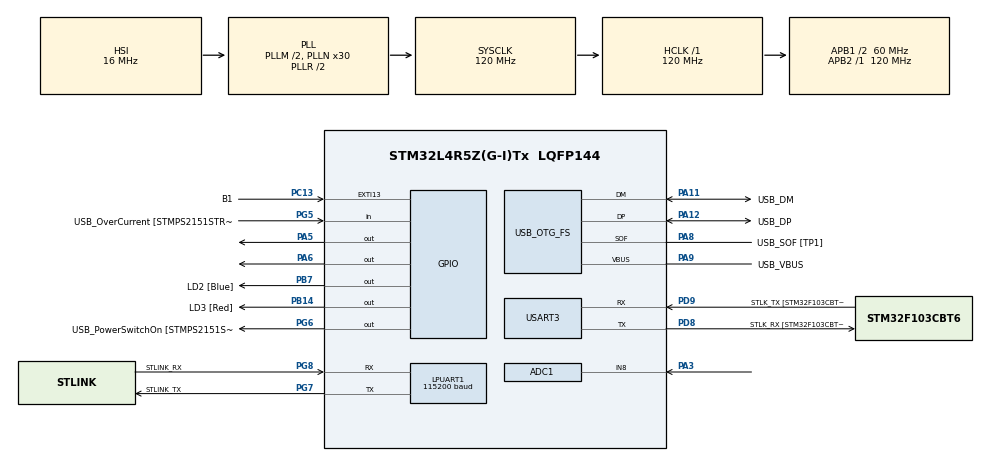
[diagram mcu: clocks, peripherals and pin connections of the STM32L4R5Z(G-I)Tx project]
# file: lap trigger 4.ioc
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ADC1.Channel-3\#ChannelRegularConversion=ADC_CHANNEL_8
ADC1.NbrOfConversionFlag=1
ADC1.OffsetNumber-3\#ChannelRegularConversion=ADC_OFFSET_NONE
ADC1.Rank-3\#ChannelRegularConversion=1
ADC1.SamplingTime-3\#ChannelRegularConversion=ADC_SAMPLETIME_2CYCLES_5
ADC1.master=1
LPUART1.BaudRate=115200
LPUART1.WordLength=UART_WORDLENGTH_8B
Mcu.Family=STM32L4
Mcu.Name=STM32L4R5Z(G-I)Tx
Mcu.Package=LQFP144
NVIC.PriorityGroup=NVIC_PRIORITYGROUP_4
PA0.Signal=ADCx_IN5
PA10.GPIO_Label=USB_ID
PA10.Signal=USB_OTG_FS_ID
PA11.GPIO_Label=USB_DM
PA11.Mode=Device_Only
PA11.Signal=USB_OTG_FS_DM
PA12.GPIO_Label=USB_DP
PA12.Mode=Device_Only
PA12.Signal=USB_OTG_FS_DP
PA13\ (JTMS/SWDIO).GPIO_Label=TMS
PA13\ (JTMS/SWDIO).Mode=Trace_Asynchronous_SW
PA13\ (JTMS/SWDIO).Signal=SYS_JTMS-SWDIO
PA14\ (JTCK/SWCLK).GPIO_Label=TCK
PA14\ (JTCK/SWCLK).Mode=Trace_Asynchronous_SW
PA14\ (JTCK/SWCLK).Signal=SYS_JTCK-SWCLK
PA3.Signal=ADCx_IN8
PA5.Signal=GPIO_Output
PA6.Signal=GPIO_Output
PA8.GPIO_Label=USB_SOF [TP1]
PA8.Mode=Activate_SOF_FS
PA8.Signal=USB_OTG_FS_SOF
PA9.GPIO_Label=USB_VBUS
PA9.Mode=Activate_VBUS
PA9.Signal=USB_OTG_FS_VBUS
PB14.GPIO_Label=LD3 [Red]
PB14.Signal=GPIO_Output
PB3\ (JTDO/TRACESWO).GPIO_Label=SWO
PB3\ (JTDO/TRACESWO).Mode=Trace_Asynchronous_SW
PB3\ (JTDO/TRACESWO).Signal=SYS_JTDO-SWO
PB7.GPIO_Label=LD2 [Blue]
PB7.Signal=GPIO_Output
PC13.GPIO_Label=B1
PC13.Signal=GPXTI13
PC14-OSC32_IN\ (PC14).Mode=LSE-External-Oscillator
PC14-OSC32_IN\ (PC14).Signal=RCC_OSC32_IN
PC15-OSC32_OUT\ (PC15).Mode=LSE-External-Oscillator
PC15-OSC32_OUT\ (PC15).Signal=RCC_OSC32_OUT
PD8.GPIO_Label=STLK_RX [STM32F103CBT6_PA3]
PD8.Mode=Asynchronous
PD8.Signal=USART3_TX
PD9.GPIO_Label=STLK_TX [STM32F103CBT6_PA2]
PD9.Mode=Asynchronous
PD9.Signal=USART3_RX
PG5.GPIO_Label=USB_OverCurrent [STMPS2151STR_FAULT]
PG5.Signal=GPIO_Input
PG6.GPIO_Label=USB_PowerSwitchOn [STMPS2151STR_EN]
PG6.Signal=GPIO_Output
PG7.GPIO_Label=STLINK_TX
PG7.Mode=Asynchronous
PG7.Signal=LPUART1_TX
PG8.GPIO_Label=STLINK_RX
PG8.Mode=Asynchronous
PG8.Signal=LPUART1_RX
PH0-OSC_IN\ (PH0).Signal=RCC_OSC_IN
PH1-OSC_OUT\ (PH1).Signal=RCC_OSC_OUT
ProjectManager.HeapSize=0x200
ProjectManager.StackSize=0x400
ProjectManager.TargetToolchain=STM32CubeIDE
RCC.48MHZClocksFreq_Value=24000000
RCC.ADCFreq_Value=96000000
RCC.AHBFreq_Value=120000000
RCC.APB1CLKDivider=RCC_HCLK_DIV2
RCC.APB1Freq_Value=60000000
RCC.APB1TimFreq_Value=120000000
RCC.APB2Freq_Value=120000000
RCC.APB2TimFreq_Value=120000000
RCC.CK48CLockSelection=RCC_USBCLKSOURCE_HSI48
RCC.CortexFreq_Value=120000000
RCC.HCLKFreq_Value=120000000
RCC.HSE_VALUE=8000000
RCC.HSI48_VALUE=48000000
RCC.HSI_VALUE=16000000
RCC.MSI_VALUE=4000000
RCC.PLLM1=2
RCC.PLLMUL=RCC_PLL_MUL9
RCC.PLLN=30
RCC.PLLSAI1N=12
RCC.PLLSourceVirtual=RCC_PLLSOURCE_HSI
RCC.PRESCALERUSB=RCC_USBCLKSOURCE_PLL_DIV1_5
RCC.SYSCLKFreq_VALUE=120000000
RCC.SYSCLKSource=RCC_SYSCLKSOURCE_PLLCLK
RCC.SYSCLKSourceVirtual=RCC_SYSCLKSOURCE_PLLCLK
RCC.USBFreq_Value=48000000
RCC.VCOOutputFreq_Value=240000000
SH.ADCx_IN5.0=ADC1_IN5
SH.ADCx_IN8.0=ADC1_IN8,IN8-Single-Ended
USART3.VirtualMode-Asynchronous=VM_ASYNC
USB_OTG_FS.VirtualMode=Device_Only
board=NUCLEO-L4R5ZI

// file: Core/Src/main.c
/* USER CODE BEGIN Header */
/**
  ******************************************************************************
  * @file           : main.c
  * @brief          : Main program body
  ******************************************************************************
  * @attention
  *
  * Copyright (c) 2025 STMicroelectronics.
  * All rights reserved.
  *
  * This software is licensed under terms that can be found in the LICENSE file
  * in the root directory of this software component.
  * If no LICENSE file comes with this software, it is provided AS-IS.
  *
  ******************************************************************************
  */
/* USER CODE END Header */
#include "main.h"
#include <string.h>
#include <stdio.h>

ADC_HandleTypeDef hadc1;

UART_HandleTypeDef hlpuart1;
UART_HandleTypeDef huart3;

PCD_HandleTypeDef hpcd_USB_OTG_FS;

/* USER CODE BEGIN PV */
uint32_t raw_voltage = 0;
uint32_t threshold = 800; //will need to test this in sunlight -- ask tuesday david about the issue we might encounter that i thought about at this amazing hour, but an absolute threshold may not work
char msg[50];
int movingAverage[8] = {0,0,0,0,0,0,0,0};
int counter = 0;
int sum = 0;
uint8_t lap_detected = 0;
volatile uint32_t lapTrigger = 0; //yurrrr

/* USER CODE END PV */

void SystemClock_Config(void);
static void MX_GPIO_Init(void);
static void MX_LPUART1_UART_Init(void);
static void MX_USART3_UART_Init(void);
static void MX_USB_OTG_FS_PCD_Init(void);
static void MX_ADC1_Init(void);
/* USER CODE BEGIN PFP */
void interrupt_lap(void)
{
	HAL_GPIO_WritePin(GPIOA, GPIO_PIN_6, GPIO_PIN_RESET);
	HAL_Delay(1);
	HAL_GPIO_WritePin(GPIOA, GPIO_PIN_6, GPIO_PIN_SET);
}
/* USER CODE END PFP */

int main(void)
{

  /* MCU Configuration--------------------------------------------------------*/

  /* Reset of all peripherals, Initializes the Flash interface and the Systick. */
  HAL_Init();

  /* Configure the system clock */
  SystemClock_Config();

  /* Initialize all configured peripherals */
  MX_GPIO_Init();
  MX_LPUART1_UART_Init();
  MX_USART3_UART_Init();
  MX_USB_OTG_FS_PCD_Init();
  MX_ADC1_Init();

  /* Infinite loop */
  while (1)
  {

    /* USER CODE BEGIN 3 */
	HAL_ADC_Start(&hadc1);
	HAL_ADC_PollForConversion(&hadc1, 100);
	raw_voltage = HAL_ADC_GetValue(&hadc1);
	sum -= movingAverage[counter];
	movingAverage[counter++] = raw_voltage;
	counter %= 8;
	sum += raw_voltage;
	HAL_ADC_Stop(&hadc1);
//	voltageinmv = (raw_voltage/4096.0)*3300;
	int bitShift = sum >> 3;
//	sprintf(msg, "Raw=%lu | numLaps=%lu\r\n", raw_voltage, lapTrigger);
//	HAL_UART_Transmit(&hlpuart1, (uint8_t*)msg, strlen(msg), HAL_MAX_DELAY);
	sprintf(msg, "Moving Avg=%lu | numLaps=%lu\r\n", bitShift, lapTrigger);
	HAL_UART_Transmit(&hlpuart1, (uint8_t*)msg, strlen(msg), HAL_MAX_DELAY);
	HAL_Delay(10);

	if (bitShift <= threshold && lap_detected == 0)
	{
		lapTrigger++;
	    lap_detected = 1;

		interrupt_lap();

		//also for debugging
		sprintf(msg, "Moving Avg=%lu | numLaps=%lu\r\n", bitShift, lapTrigger);
		HAL_UART_Transmit(&hlpuart1, (uint8_t*)msg, strlen(msg), HAL_MAX_DELAY);
		sprintf(msg, "Lap %lu!\r\n", lapTrigger);
		HAL_UART_Transmit(&hlpuart1, (uint8_t*)msg, strlen(msg), HAL_MAX_DELAY);

	}
	  if(bitShift > threshold) //state machine YES HAHAAHA! ig its not rlly a state machine
	  {
		  lap_detected = 0;
    }
  /* USER CODE END 3 */
}
}
void SystemClock_Config(void)
{
  RCC_OscInitTypeDef RCC_OscInitStruct = {0};
  RCC_ClkInitTypeDef RCC_ClkInitStruct = {0};

  /** Configure the main internal regulator output voltage
  */
  if (HAL_PWREx_ControlVoltageScaling(PWR_REGULATOR_VOLTAGE_SCALE1_BOOST) != HAL_OK)
  {
    Error_Handler();
  }

  /** Initializes the RCC Oscillators according to the specified parameters
  * in the RCC_OscInitTypeDef structure.
  */
  RCC_OscInitStruct.OscillatorType = RCC_OSCILLATORTYPE_HSI48|RCC_OSCILLATORTYPE_HSI;
  RCC_OscInitStruct.HSIState = RCC_HSI_ON;
  RCC_OscInitStruct.HSI48State = RCC_HSI48_ON;
  RCC_OscInitStruct.HSICalibrationValue = RCC_HSICALIBRATION_DEFAULT;
  RCC_OscInitStruct.PLL.PLLState = RCC_PLL_ON;
  RCC_OscInitStruct.PLL.PLLSource = RCC_PLLSOURCE_HSI;
  RCC_OscInitStruct.PLL.PLLM = 2;
  RCC_OscInitStruct.PLL.PLLN = 30;
  RCC_OscInitStruct.PLL.PLLP = RCC_PLLP_DIV2;
  RCC_OscInitStruct.PLL.PLLQ = RCC_PLLQ_DIV2;
  RCC_OscInitStruct.PLL.PLLR = RCC_PLLR_DIV2;
  if (HAL_RCC_OscConfig(&RCC_OscInitStruct) != HAL_OK)
  {
    Error_Handler();
  }

  /** Initializes the CPU, AHB and APB buses clocks
  */
  RCC_ClkInitStruct.ClockType = RCC_CLOCKTYPE_HCLK|RCC_CLOCKTYPE_SYSCLK
                              |RCC_CLOCKTYPE_PCLK1|RCC_CLOCKTYPE_PCLK2;
  RCC_ClkInitStruct.SYSCLKSource = RCC_SYSCLKSOURCE_PLLCLK;
  RCC_ClkInitStruct.AHBCLKDivider = RCC_SYSCLK_DIV1;
  RCC_ClkInitStruct.APB1CLKDivider = RCC_HCLK_DIV2;
  RCC_ClkInitStruct.APB2CLKDivider = RCC_HCLK_DIV1;

  if (HAL_RCC_ClockConfig(&RCC_ClkInitStruct, FLASH_LATENCY_5) != HAL_OK)
  {
    Error_Handler();
  }
}

static void MX_ADC1_Init(void)
{

  ADC_ChannelConfTypeDef sConfig = {0};

  /** Common config
  */
  hadc1.Instance = ADC1;
  hadc1.Init.ClockPrescaler = ADC_CLOCK_ASYNC_DIV2;
  hadc1.Init.Resolution = ADC_RESOLUTION_12B;
  hadc1.Init.DataAlign = ADC_DATAALIGN_RIGHT;
  hadc1.Init.ScanConvMode = ADC_SCAN_DISABLE;
  hadc1.Init.EOCSelection = ADC_EOC_SINGLE_CONV;
  hadc1.Init.LowPowerAutoWait = DISABLE;
  hadc1.Init.ContinuousConvMode = DISABLE;
  hadc1.Init.NbrOfConversion = 1;
  hadc1.Init.DiscontinuousConvMode = DISABLE;
  hadc1.Init.ExternalTrigConv = ADC_SOFTWARE_START;
  hadc1.Init.ExternalTrigConvEdge = ADC_EXTERNALTRIGCONVEDGE_NONE;
  hadc1.Init.DMAContinuousRequests = DISABLE;
  hadc1.Init.Overrun = ADC_OVR_DATA_PRESERVED;
  hadc1.Init.OversamplingMode = DISABLE;
  if (HAL_ADC_Init(&hadc1) != HAL_OK)
  {
    Error_Handler();
  }

  /** Configure Regular Channel
  */
  sConfig.Channel = ADC_CHANNEL_8;
  sConfig.Rank = ADC_REGULAR_RANK_1;
  sConfig.SamplingTime = ADC_SAMPLETIME_2CYCLES_5;
  sConfig.SingleDiff = ADC_SINGLE_ENDED;
  sConfig.OffsetNumber = ADC_OFFSET_NONE;
  sConfig.Offset = 0;
  if (HAL_ADC_ConfigChannel(&hadc1, &sConfig) != HAL_OK)
  {
    Error_Handler();
  }

}

static void MX_LPUART1_UART_Init(void)
{

  hlpuart1.Instance = LPUART1;
  hlpuart1.Init.BaudRate = 115200;
  hlpuart1.Init.WordLength = UART_WORDLENGTH_8B;
  hlpuart1.Init.StopBits = UART_STOPBITS_1;
  hlpuart1.Init.Parity = UART_PARITY_NONE;
  hlpuart1.Init.Mode = UART_MODE_TX_RX;
  hlpuart1.Init.HwFlowCtl = UART_HWCONTROL_NONE;
  hlpuart1.Init.OneBitSampling = UART_ONE_BIT_SAMPLE_DISABLE;
  hlpuart1.Init.ClockPrescaler = UART_PRESCALER_DIV1;
  hlpuart1.AdvancedInit.AdvFeatureInit = UART_ADVFEATURE_NO_INIT;
  hlpuart1.FifoMode = UART_FIFOMODE_DISABLE;
  if (HAL_UART_Init(&hlpuart1) != HAL_OK)
  {
    Error_Handler();
  }
  if (HAL_UARTEx_SetTxFifoThreshold(&hlpuart1, UART_TXFIFO_THRESHOLD_1_8) != HAL_OK)
  {
    Error_Handler();
  }
  if (HAL_UARTEx_SetRxFifoThreshold(&hlpuart1, UART_RXFIFO_THRESHOLD_1_8) != HAL_OK)
  {
    Error_Handler();
  }
  if (HAL_UARTEx_DisableFifoMode(&hlpuart1) != HAL_OK)
  {
    Error_Handler();
  }

}

static void MX_USART3_UART_Init(void)
{

  huart3.Instance = USART3;
  huart3.Init.BaudRate = 115200;
  huart3.Init.WordLength = UART_WORDLENGTH_8B;
  huart3.Init.StopBits = UART_STOPBITS_1;
  huart3.Init.Parity = UART_PARITY_NONE;
  huart3.Init.Mode = UART_MODE_TX_RX;
  huart3.Init.HwFlowCtl = UART_HWCONTROL_NONE;
  huart3.Init.OverSampling = UART_OVERSAMPLING_16;
  huart3.Init.OneBitSampling = UART_ONE_BIT_SAMPLE_DISABLE;
  huart3.Init.ClockPrescaler = UART_PRESCALER_DIV1;
  huart3.AdvancedInit.AdvFeatureInit = UART_ADVFEATURE_NO_INIT;
  if (HAL_UART_Init(&huart3) != HAL_OK)
  {
    Error_Handler();
  }
  if (HAL_UARTEx_SetTxFifoThreshold(&huart3, UART_TXFIFO_THRESHOLD_1_8) != HAL_OK)
  {
    Error_Handler();
  }
  if (HAL_UARTEx_SetRxFifoThreshold(&huart3, UART_RXFIFO_THRESHOLD_1_8) != HAL_OK)
  {
    Error_Handler();
  }
  if (HAL_UARTEx_DisableFifoMode(&huart3) != HAL_OK)
  {
    Error_Handler();
  }

}

static void MX_USB_OTG_FS_PCD_Init(void)
{

  hpcd_USB_OTG_FS.Instance = USB_OTG_FS;
  hpcd_USB_OTG_FS.Init.dev_endpoints = 6;
  hpcd_USB_OTG_FS.Init.speed = PCD_SPEED_FULL;
  hpcd_USB_OTG_FS.Init.phy_itface = PCD_PHY_EMBEDDED;
  hpcd_USB_OTG_FS.Init.Sof_enable = ENABLE;
  hpcd_USB_OTG_FS.Init.low_power_enable = DISABLE;
  hpcd_USB_OTG_FS.Init.lpm_enable = DISABLE;
  hpcd_USB_OTG_FS.Init.battery_charging_enable = ENABLE;
  hpcd_USB_OTG_FS.Init.use_dedicated_ep1 = DISABLE;
  hpcd_USB_OTG_FS.Init.vbus_sensing_enable = ENABLE;
  if (HAL_PCD_Init(&hpcd_USB_OTG_FS) != HAL_OK)
  {
    Error_Handler();
  }

}

static void MX_GPIO_Init(void)
{
  GPIO_InitTypeDef GPIO_InitStruct = {0};

  /* GPIO Ports Clock Enable */
  __HAL_RCC_GPIOC_CLK_ENABLE();
  __HAL_RCC_GPIOH_CLK_ENABLE();
  __HAL_RCC_GPIOA_CLK_ENABLE();
  __HAL_RCC_GPIOB_CLK_ENABLE();
  __HAL_RCC_GPIOD_CLK_ENABLE();
  __HAL_RCC_GPIOG_CLK_ENABLE();
  HAL_PWREx_EnableVddIO2();

  /*Configure GPIO pin Output Level */
  HAL_GPIO_WritePin(GPIOA, GPIO_PIN_5|GPIO_PIN_6, GPIO_PIN_RESET);

  /*Configure GPIO pin Output Level */
  HAL_GPIO_WritePin(GPIOB, LD3_Pin|LD2_Pin, GPIO_PIN_RESET);

  /*Configure GPIO pin Output Level */
  HAL_GPIO_WritePin(USB_PowerSwitchOn_GPIO_Port, USB_PowerSwitchOn_Pin, GPIO_PIN_RESET);

  /*Configure GPIO pin : B1_Pin */
  GPIO_InitStruct.Pin = B1_Pin;
  GPIO_InitStruct.Mode = GPIO_MODE_IT_RISING;
  GPIO_InitStruct.Pull = GPIO_NOPULL;
  HAL_GPIO_Init(B1_GPIO_Port, &GPIO_InitStruct);

  /*Configure GPIO pins : PA5 PA6 */
  GPIO_InitStruct.Pin = GPIO_PIN_5|GPIO_PIN_6;
  GPIO_InitStruct.Mode = GPIO_MODE_OUTPUT_PP;
  GPIO_InitStruct.Pull = GPIO_NOPULL;
  GPIO_InitStruct.Speed = GPIO_SPEED_FREQ_LOW;
  HAL_GPIO_Init(GPIOA, &GPIO_InitStruct);

  /*Configure GPIO pins : LD3_Pin LD2_Pin */
  GPIO_InitStruct.Pin = LD3_Pin|LD2_Pin;
  GPIO_InitStruct.Mode = GPIO_MODE_OUTPUT_PP;
  GPIO_InitStruct.Pull = GPIO_NOPULL;
  GPIO_InitStruct.Speed = GPIO_SPEED_FREQ_LOW;
  HAL_GPIO_Init(GPIOB, &GPIO_InitStruct);

  /*Configure GPIO pin : USB_OverCurrent_Pin */
  GPIO_InitStruct.Pin = USB_OverCurrent_Pin;
  GPIO_InitStruct.Mode = GPIO_MODE_INPUT;
  GPIO_InitStruct.Pull = GPIO_NOPULL;
  HAL_GPIO_Init(USB_OverCurrent_GPIO_Port, &GPIO_InitStruct);

  /*Configure GPIO pin : USB_PowerSwitchOn_Pin */
  GPIO_InitStruct.Pin = USB_PowerSwitchOn_Pin;
  GPIO_InitStruct.Mode = GPIO_MODE_OUTPUT_PP;
  GPIO_InitStruct.Pull = GPIO_NOPULL;
  GPIO_InitStruct.Speed = GPIO_SPEED_FREQ_LOW;
  HAL_GPIO_Init(USB_PowerSwitchOn_GPIO_Port, &GPIO_InitStruct);

}

void Error_Handler(void)
{
  __disable_irq();
  while (1)
  {
  }
}
